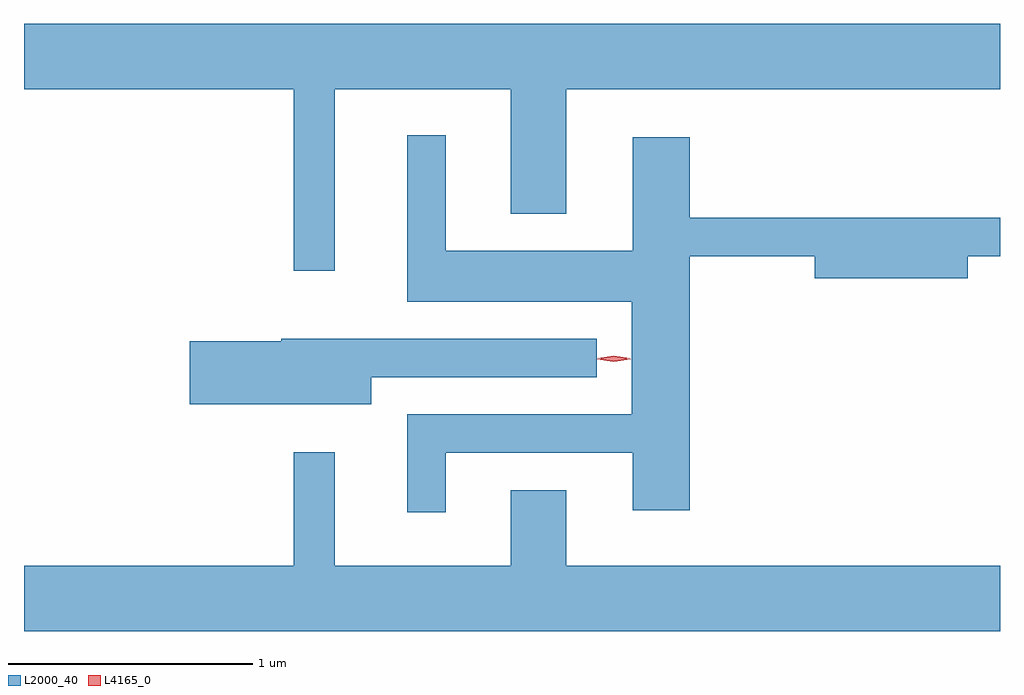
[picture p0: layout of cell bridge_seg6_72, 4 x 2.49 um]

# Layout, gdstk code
import gdstk
lib = gdstk.Library(unit=1e-6, precision=1e-09)
def P(c, l, *ps):  # polygons
    for p in ps: c.add(gdstk.Polygon(p, *l))
L2000_40 = (2000, 40)
L4165_0 = (4165, 0)

bridge_seg6_72 = lib.new_cell('bridge_seg6_72')
P(bridge_seg6_72, L2000_40, [(1400.259,1643.276),(1400.981,1643.276),(1400.981,1642.766),(1401.209,1642.766),(1401.209,1643.276),(1402.986,1643.276),(1402.986,1643.544),(1398.986,1643.544),(1398.986,1643.276),(1400.091,1643.276),(1400.091,1642.533),(1400.259,1642.533)],
  [(1400.714,1641.786),(1401.481,1641.786),(1401.481,1641.551),(1401.714,1641.551),(1401.714,1642.591),(1402.226,1642.591),(1402.226,1642.501),(1402.854,1642.501),(1402.854,1642.591),(1402.986,1642.591),(1402.986,1642.749),(1401.714,1642.749),(1401.714,1643.079),(1401.481,1643.079),(1401.481,1642.614),(1400.714,1642.614),(1400.714,1643.088),(1400.556,1643.088),(1400.556,1642.406),(1401.476,1642.406),(1401.476,1641.944),(1400.556,1641.944),(1400.556,1641.543),(1400.714,1641.543)],
  [(1400.409,1642.096),(1401.333,1642.096),(1401.333,1642.254),(1400.04,1642.254),(1400.04,1642.244),(1399.666,1642.244),(1399.666,1641.986),(1400.409,1641.986)],
  [(1402.986,1641.324),(1401.209,1641.324),(1401.209,1641.634),(1400.981,1641.634),(1400.981,1641.324),(1400.259,1641.324),(1400.259,1641.788),(1400.091,1641.788),(1400.091,1641.324),(1398.986,1641.324),(1398.986,1641.056),(1402.986,1641.056)])
P(bridge_seg6_72, L4165_0, [(1401.404,1642.165),(1401.338,1642.174),(1401.337,1642.175),(1401.338,1642.175),(1401.404,1642.185),(1401.469,1642.175),(1401.47,1642.175),(1401.469,1642.174)],
  [(1401.403,1642.159),(1401.334,1642.169),(1401.333,1642.17),(1401.334,1642.17),(1401.403,1642.179),(1401.472,1642.17),(1401.473,1642.169),(1401.472,1642.169)])

lib.write_gds('bridge_seg6_72.gds')
